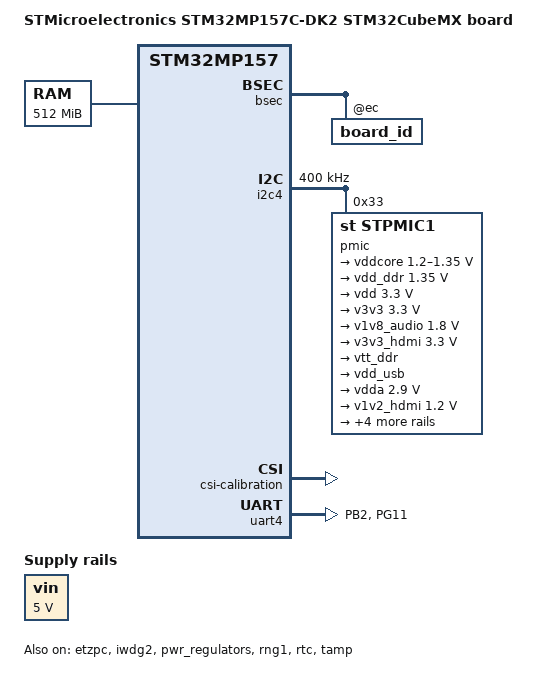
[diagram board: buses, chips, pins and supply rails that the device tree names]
// SPDX-License-Identifier: (GPL-2.0-or-later OR BSD-3-Clause)
/*
 * Copyright (C) 2023, STMicroelectronics - All Rights Reserved
 * Author: STM32CubeMX code generation for STMicroelectronics.
 */

/* For more information on Device Tree configuration, please refer to
 * https://wiki.st.com/stm32mpu/wiki/Category:Device_tree_configuration
 */

/dts-v1/;
#include <dt-bindings/pinctrl/stm32-pinfunc.h>
#include <dt-bindings/clock/stm32mp1-clksrc.h>
#include <dt-bindings/soc/stm32mp15-etzpc.h>

#include "stm32mp157.dtsi"
#include "stm32mp15xc.dtsi"
#include "stm32mp15xxac-pinctrl.dtsi"

/* USER CODE BEGIN includes */
#include <dt-bindings/power/stm32mp1-power.h>
/* USER CODE END includes */

/ {
	model = "STMicroelectronics STM32MP157C-DK2 STM32CubeMX board";
	compatible = "st,stm32mp157c-la_m4_fw-mx", "st,stm32mp157c-dk2", "st,stm32mp157";

	memory@c0000000 {
		device_type = "memory";
		reg = <0xc0000000 0x20000000>;

		/* USER CODE BEGIN memory */
		/* USER CODE END memory */
	};

	reserved-memory {
		#address-cells = <1>;
		#size-cells = <1>;
		ranges;

		/* USER CODE BEGIN reserved-memory */
		/* USER CODE END reserved-memory */
	};

	/* USER CODE BEGIN root */

	vin:vin{
		compatible = "regulator-fixed";
		regulator-name = "vin";
		regulator-min-microvolt = <5000000>;
		regulator-max-microvolt = <5000000>;
		regulator-always-on;
	};

	aliases{
		serial0 = &uart4;
		serial1 = &usart3;
		serial2 = &uart7;
		serial3 = &usart2;
	};

	chosen{
		stdout-path = "serial0:115200n8";
	};
	/* USER CODE END root */

	clocks {
		/* USER CODE BEGIN clocks */
		/* USER CODE END clocks */

		clk_hsi: clk-hsi {
			clock-frequency = <64000000>;

			/* USER CODE BEGIN clk_hsi */
			/* USER CODE END clk_hsi */
		};
		clk_lse: clk-lse {
			clock-frequency = <32768>;
			st,drive = < LSEDRV_MEDIUM_HIGH >;

			/* USER CODE BEGIN clk_lse */
			/* USER CODE END clk_lse */
		};
		clk_hse: clk-hse {
			status = "disabled";

			/* USER CODE BEGIN clk_hse */
			/* USER CODE END clk_hse */
		};
	};

}; /*root*/

/*Warning: the configuration of the secured GPIOs should be added in (addons) User Section*/
&pinctrl {
	rtc_pins_mx: rtc_mx-0 {
		pins {
			pinmux = <STM32_PINMUX('I', 8, ANALOG)>; /* RTC_LSCO */
		};
	};

	/* USER CODE BEGIN pinctrl */

uart4_pins_mx: uart4_mx-0 {
	pins1 {
		pinmux = <STM32_PINMUX('B', 2, AF8)>; /* UART4_RX */
		bias-disable;
	};
	pins2 {
		pinmux = <STM32_PINMUX('G', 11, AF6)>; /* UART4_TX */
		bias-disable;
		drive-push-pull;
		slew-rate = <0>;
	};
};
	/* USER CODE END pinctrl */
};

&pinctrl_z {
	i2c4_pins_z_mx: i2c4_mx-0 {
		pins {
			pinmux = <STM32_PINMUX('Z', 4, AF6)>, /* I2C4_SCL */
					 <STM32_PINMUX('Z', 5, AF6)>; /* I2C4_SDA */
			bias-pull-up;
			drive-open-drain;
			slew-rate = <0>;
		};
	};

	/* USER CODE BEGIN pinctrl_z */
	/* USER CODE END pinctrl_z */
};

&bsec{
	status = "okay";

	/* USER CODE BEGIN bsec */

	board_id:board_id@ec{
		reg = <0xec 0x4>;
		st,non-secure-otp;
	};
	/* USER CODE END bsec */
};

&etzpc{
	status = "okay";
	st,decprot = <
	/*"Non Secured" peripherals*/
	DECPROT(STM32MP1_ETZPC_ADC_ID, DECPROT_NS_RW, DECPROT_UNLOCK)
	DECPROT(STM32MP1_ETZPC_DMA1_ID, DECPROT_NS_RW, DECPROT_UNLOCK)
	DECPROT(STM32MP1_ETZPC_DMAMUX_ID, DECPROT_NS_RW, DECPROT_UNLOCK)
	DECPROT(STM32MP1_ETZPC_ETH_ID, DECPROT_NS_RW, DECPROT_UNLOCK)
	DECPROT(STM32MP1_ETZPC_CEC_ID, DECPROT_NS_RW, DECPROT_UNLOCK)
	DECPROT(STM32MP1_ETZPC_I2C1_ID, DECPROT_NS_RW, DECPROT_UNLOCK)
	DECPROT(STM32MP1_ETZPC_I2C4_ID, DECPROT_NS_RW, DECPROT_UNLOCK)
	DECPROT(STM32MP1_ETZPC_SPI2_ID, DECPROT_NS_RW, DECPROT_UNLOCK)
	DECPROT(STM32MP1_ETZPC_RNG1_ID, DECPROT_NS_RW, DECPROT_UNLOCK)
	DECPROT(STM32MP1_ETZPC_SAI2_ID, DECPROT_NS_RW, DECPROT_UNLOCK)
	DECPROT(STM32MP1_ETZPC_TIM6_ID, DECPROT_NS_RW, DECPROT_UNLOCK)
	DECPROT(STM32MP1_ETZPC_UART4_ID, DECPROT_NS_RW, DECPROT_UNLOCK)
	DECPROT(STM32MP1_ETZPC_USART2_ID, DECPROT_NS_RW, DECPROT_UNLOCK)
	DECPROT(STM32MP1_ETZPC_OTG_ID, DECPROT_NS_RW, DECPROT_UNLOCK)
	DECPROT(STM32MP1_ETZPC_VREFBUF_ID, DECPROT_NS_RW, DECPROT_UNLOCK)
	/*"NS_R S_W" peripherals*/
	DECPROT(STM32MP1_ETZPC_DDRCTRL_ID, DECPROT_NS_R_S_W, DECPROT_LOCK)
	DECPROT(STM32MP1_ETZPC_DDRPHYC_ID, DECPROT_NS_R_S_W, DECPROT_LOCK)
	/*"Secured" peripherals*/
	DECPROT(STM32MP1_ETZPC_STGENC_ID, DECPROT_S_RW, DECPROT_UNLOCK)
	/*"Mcu Isolation" peripherals*/
	DECPROT(STM32MP1_ETZPC_DMA2_ID, DECPROT_MCU_ISOLATION, DECPROT_UNLOCK)
	DECPROT(STM32MP1_ETZPC_TIM2_ID, DECPROT_MCU_ISOLATION, DECPROT_UNLOCK)

	/*Restriction: following IDs are not managed  - please to use User-Section if needed:
		  STM32MP1_ETZPC_SRAMx_ID  STM32MP1_ETZPC_RETRAM_ID  STM32MP1_ETZPC_BKPSRAM_ID*/

	/* USER CODE BEGIN etzpc_decprot */
		/*STM32CubeMX generates a basic and standard configuration for ETZPC.
		Additional device configurations can be added here if needed.
		"etzpc" node could be also overloaded in "addons" User-Section.*/
	/* USER CODE END etzpc_decprot */
	>;

	/* USER CODE BEGIN etzpc */
	/* USER CODE END etzpc */
};

&i2c4{
	pinctrl-names = "default";
	pinctrl-0 = <&i2c4_pins_z_mx>;
	status = "okay";

	/* USER CODE BEGIN i2c4 */
	compatible = "st,stm32mp15-i2c-non-secure";
	i2c-scl-rising-time-ns = <185>;
	i2c-scl-falling-time-ns = <20>;
	clock-frequency = <400000>;

	pmic:stpmic@33{
		compatible = "st,stpmic1";
		reg = <0x33>;
		interrupt-controller;
		#interrupt-cells = <2>;
		status = "okay";

		regulators{
			compatible = "st,stpmic1-regulators";
			buck1-supply = <&vin>;
			buck2-supply = <&vin>;
			buck3-supply = <&vin>;
			buck4-supply = <&vin>;
			ldo1-supply = <&v3v3>;
			ldo2-supply = <&vin>;
			ldo3-supply = <&vdd_ddr>;
			ldo4-supply = <&vin>;
			ldo5-supply = <&vin>;
			ldo6-supply = <&v3v3>;
			vref_ddr-supply = <&vin>;
			boost-supply = <&vin>;
			pwr_sw1-supply = <&bst_out>;
			pwr_sw2-supply = <&bst_out>;

			vddcore:buck1{
				regulator-name = "vddcore";
				regulator-min-microvolt = <1200000>;
				regulator-max-microvolt = <1350000>;
				regulator-always-on;
				regulator-initial-mode = <0>;
				regulator-over-current-protection;

				lp-stop{
					regulator-on-in-suspend;
					regulator-suspend-microvolt = <1200000>;
				};

				standby-ddr-sr{
					regulator-off-in-suspend;
				};

				standby-ddr-off{
					regulator-off-in-suspend;
				};
			};

			vdd_ddr:buck2{
				regulator-name = "vdd_ddr";
				regulator-min-microvolt = <1350000>;
				regulator-max-microvolt = <1350000>;
				regulator-always-on;
				regulator-initial-mode = <0>;
				regulator-over-current-protection;

				lp-stop{
					regulator-suspend-microvolt = <1350000>;
					regulator-on-in-suspend;
				};

				standby-ddr-sr{
					regulator-suspend-microvolt = <1350000>;
					regulator-on-in-suspend;
				};

				standby-ddr-off{
					regulator-off-in-suspend;
				};
			};

			vdd:buck3{
				regulator-name = "vdd";
				regulator-min-microvolt = <3300000>;
				regulator-max-microvolt = <3300000>;
				regulator-always-on;
				st,mask-reset;
				regulator-initial-mode = <0>;
				regulator-over-current-protection;

				lp-stop{
					regulator-suspend-microvolt = <3300000>;
					regulator-on-in-suspend;
				};

				standby-ddr-sr{
					regulator-suspend-microvolt = <3300000>;
					regulator-on-in-suspend;
				};

				standby-ddr-off{
					regulator-suspend-microvolt = <3300000>;
					regulator-on-in-suspend;
				};
			};

			v3v3:buck4{
				regulator-name = "v3v3";
				regulator-min-microvolt = <3300000>;
				regulator-max-microvolt = <3300000>;
				regulator-always-on;
				regulator-over-current-protection;
				regulator-initial-mode = <0>;

				lp-stop{
					regulator-suspend-microvolt = <3300000>;
					regulator-on-in-suspend;
				};

				standby-ddr-sr{
					regulator-off-in-suspend;
				};

				standby-ddr-off{
					regulator-off-in-suspend;
				};
			};

			v1v8_audio:ldo1{
				regulator-name = "v1v8_audio";
				regulator-min-microvolt = <1800000>;
				regulator-max-microvolt = <1800000>;
				regulator-always-on;

				standby-ddr-sr{
					regulator-off-in-suspend;
				};

				standby-ddr-off{
					regulator-off-in-suspend;
				};
			};

			v3v3_hdmi:ldo2{
				regulator-name = "v3v3_hdmi";
				regulator-min-microvolt = <3300000>;
				regulator-max-microvolt = <3300000>;
				regulator-always-on;

				standby-ddr-sr{
					regulator-off-in-suspend;
				};

				standby-ddr-off{
					regulator-off-in-suspend;
				};
			};

			vtt_ddr:ldo3{
				regulator-name = "vtt_ddr";
				regulator-always-on;
				regulator-over-current-protection;
				st,regulator-sink-source;

				lp-stop{
					regulator-off-in-suspend;
				};

				standby-ddr-sr{
					regulator-off-in-suspend;
				};

				standby-ddr-off{
					regulator-off-in-suspend;
				};
			};

			vdd_usb:ldo4{
				regulator-name = "vdd_usb";

				standby-ddr-sr{
					regulator-off-in-suspend;
				};

				standby-ddr-off{
					regulator-off-in-suspend;
				};
			};

			vdda:ldo5{
				regulator-name = "vdda";
				regulator-min-microvolt = <2900000>;
				regulator-max-microvolt = <2900000>;
				regulator-boot-on;

				standby-ddr-sr{
					regulator-off-in-suspend;
				};

				standby-ddr-off{
					regulator-off-in-suspend;
				};
			};

			v1v2_hdmi:ldo6{
				regulator-name = "v1v2_hdmi";
				regulator-min-microvolt = <1200000>;
				regulator-max-microvolt = <1200000>;
				regulator-always-on;

				standby-ddr-sr{
					regulator-off-in-suspend;
				};

				standby-ddr-off{
					regulator-off-in-suspend;
				};
			};

			vref_ddr:vref_ddr{
				regulator-name = "vref_ddr";
				regulator-always-on;
				regulator-over-current-protection;

				lp-stop{
					regulator-on-in-suspend;
				};

				standby-ddr-sr{
					regulator-on-in-suspend;
				};

				standby-ddr-off{
					regulator-off-in-suspend;
				};
			};

			bst_out:boost{
				regulator-name = "bst_out";
			};

			vbus_otg:pwr_sw1{
				regulator-name = "vbus_otg";
			};

			vbus_sw:pwr_sw2{
				regulator-name = "vbus_sw";
				regulator-active-discharge = <1>;
			};
		};
	};
	/* USER CODE END i2c4 */
};

&iwdg2{
	status = "okay";

	/* USER CODE BEGIN iwdg2 */
	timeout-sec = <32>;
	secure-timeout-sec = <15>;
	/* USER CODE END iwdg2 */
};

&pwr_regulators{
	status = "okay";

	/* USER CODE BEGIN pwr_regulators */
	system_suspend_supported_soc_modes = <
		STM32_PM_CSLEEP_RUN
		STM32_PM_CSTOP_ALLOW_LP_STOP
		STM32_PM_CSTOP_ALLOW_STANDBY_DDR_SR
	>;
	system_off_soc_mode = <STM32_PM_CSTOP_ALLOW_STANDBY_DDR_OFF>;
	vdd-supply = <&vdd>;
	vdd_3v3_usbfs-supply = <&vdd_usb>;
	/* USER CODE END pwr_regulators */
};

&rcc{
	status = "okay";

	/* USER CODE BEGIN rcc */
	/* USER CODE END rcc */

	st,clksrc = <
		CLK_CKPER_HSI
		CLK_ETH_PLL4P
		CLK_SDMMC12_PLL4P
		CLK_STGEN_HSI
		CLK_SPI2S23_PLL3Q
		CLK_I2C46_HSI
		CLK_USBO_USBPHY
		CLK_ADC_CKPER
		CLK_CEC_LSE
		CLK_I2C12_HSI
		CLK_UART24_HSI
		CLK_SAI2_PLL3Q
		CLK_RNG1_LSI
		CLK_MPU_PLL1P
		CLK_AXI_PLL2P
		CLK_MCU_PLL3P
		CLK_RTC_LSE
		CLK_MCO1_DISABLED
		CLK_MCO2_DISABLED
	>;
	st,clkdiv = <
		DIV(DIV_MPU, 1)
		DIV(DIV_AXI, 0)
		DIV(DIV_MCU, 0)
		DIV(DIV_APB1, 1)
		DIV(DIV_APB2, 1)
		DIV(DIV_APB3, 1)
		DIV(DIV_APB4, 1)
		DIV(DIV_APB5, 2)
		DIV(DIV_RTC, 23)
		DIV(DIV_MCO1, 0)
		DIV(DIV_MCO2, 0)
	>;
	st,pll_vco {
		pll1_vco_800Mhz: pll1-vco-800Mhz {
			src = < CLK_PLL12_HSI >;
			divmn = < 3 24 >;
		};
		pll2_vco_800Mhz: pll2-vco-800Mhz {
			src = < CLK_PLL12_HSI >;
			divmn = < 3 24 >;
		};
		pll3_vco_400Mhz: pll3-vco-400Mhz {
			src = < CLK_PLL3_HSI >;
			divmn = < 3 24 >;
		};
		pll4_vco_416Mhz: pll4-vco-416Mhz {
			src = < CLK_PLL4_HSI >;
			divmn = < 3 25 >;
		};
		/* USER CODE BEGIN rcc_st-pll_vco */
		/* USER CODE END rcc_st-pll_vco */
	};

	pll1:st,pll@0 {
		compatible = "st,stm32mp1-pll";
		reg = <0>;

		st,pll = < &pll1_cfg1 >;

		pll1_cfg1: pll1_cfg1 {
			st,pll_vco = < &pll1_vco_800Mhz >;
			st,pll_div_pqr = < 0 1 1 >;
		};
		/* USER CODE BEGIN pll1 */
		/* USER CODE END pll1 */
	};

	pll2:st,pll@1 {
		compatible = "st,stm32mp1-pll";
		reg = <1>;

		st,pll = < &pll2_cfg1 >;

		pll2_cfg1: pll2_cfg1 {
			st,pll_vco = < &pll2_vco_800Mhz >;
			st,pll_div_pqr = < 1 0 0 >;
		};
		/* USER CODE BEGIN pll2 */
		/* USER CODE END pll2 */
	};

	pll3:st,pll@2 {
		compatible = "st,stm32mp1-pll";
		reg = <2>;

		st,pll = < &pll3_cfg1 >;

		pll3_cfg1: pll3_cfg1 {
			st,pll_vco = < &pll3_vco_400Mhz >;
			st,pll_div_pqr = < 1 3 36 >;
		};
		/* USER CODE BEGIN pll3 */
		/* USER CODE END pll3 */
	};

	pll4:st,pll@3 {
		compatible = "st,stm32mp1-pll";
		reg = <3>;

		st,pll = < &pll4_cfg1 >;

		pll4_cfg1: pll4_cfg1 {
			st,pll_vco = < &pll4_vco_416Mhz >;
			st,pll_div_pqr = < 3 4 15 >;
		};
		/* USER CODE BEGIN pll4 */
		/* USER CODE END pll4 */
	};

};

&rng1{
	status = "okay";

	/* USER CODE BEGIN rng1 */
	/* USER CODE END rng1 */
};

&rtc{
	pinctrl-names = "default";
	pinctrl-0 = <&rtc_pins_mx>;
	status = "okay";

	/* USER CODE BEGIN rtc */
	/* USER CODE END rtc */
};

&tamp{
	status = "okay";

	/* USER CODE BEGIN tamp */
	/* USER CODE END tamp */
};

/* USER CODE BEGIN addons */

&cpu0{
	cpu-supply = <&vddcore>;
};

&osc_calibration{

	csi-calibration{
		status = "okay";
	};

	hsi-calibration{
		status = "okay";
	};
};

&cpu1{
	cpu-supply = <&vddcore>;
};


&uart4{
	pinctrl-names = "default";
	pinctrl-0 = <&uart4_pins_mx>;
	status = "okay";
};
/* USER CODE END addons */

